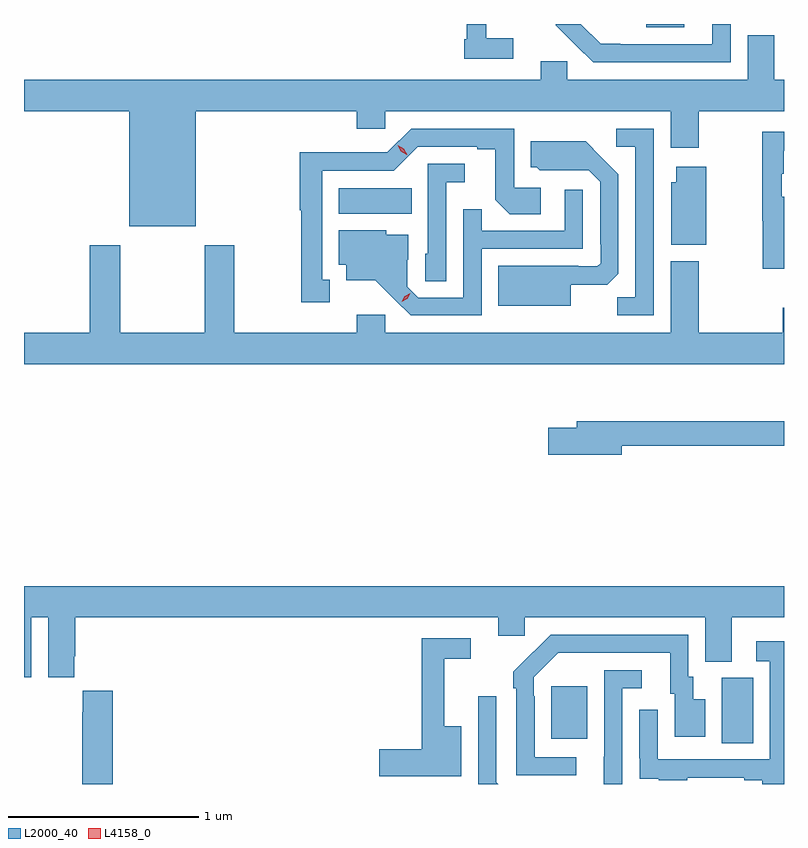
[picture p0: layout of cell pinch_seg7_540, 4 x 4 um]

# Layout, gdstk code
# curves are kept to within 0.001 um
import gdstk
lib = gdstk.Library(unit=1e-6, precision=1e-09)
def R(c, l, rs):  # rectangles x0, y0, x1, y1
    for r in rs: c.add(gdstk.rectangle(r[:2], r[2:], *l))
def P(c, l, *ps):  # polygons
    for p in ps: c.add(gdstk.Polygon(p, *l))
L2000_40 = (2000, 40)
L4158_0 = (4158, 0)

pinch_seg7_540 = lib.new_cell('pinch_seg7_540')
R(pinch_seg7_540, L2000_40, [(138.278,1050.568,138.442,1050.912), (137.381,1050.593,137.569,1050.868), (136.262,1053.356,136.646,1053.49), (137.88,1054.338,138.079,1054.354)])
P(pinch_seg7_540, L2000_40, [(138.324,1054.354),(138.227,1054.354),(138.227,1054.248),(137.64,1054.249),(137.534,1054.354),(137.403,1054.354),(137.403,1054.347),(137.6,1054.152),(138.324,1054.152)],
  [(137.179,1054.279),(137.039,1054.279),(137.039,1054.354),(136.936,1054.354),(136.936,1054.273),(136.921,1054.273),(136.921,1054.17),(137.179,1054.17)],
  [(135.508,1053.896),(136.355,1053.896),(136.355,1053.803),(136.506,1053.803),(136.506,1053.896),(138.008,1053.896),(138.008,1053.702),(138.156,1053.702),(138.156,1053.896),(138.605,1053.896),(138.605,1054.06),(138.553,1054.06),(138.553,1054.296),(138.413,1054.296),(138.413,1054.06),(137.463,1054.06),(137.463,1054.158),(137.324,1054.158),(137.324,1054.06),(134.605,1054.06),(134.605,1053.896),(135.158,1053.896),(135.158,1053.29),(135.508,1053.29)],
  [(137.919,1053.804),(137.721,1053.804),(137.721,1053.708),(137.823,1053.708),(137.823,1052.915),(137.728,1052.915),(137.728,1052.82),(137.919,1052.82)],
  [(136.213,1053.009),(136.174,1053.009),(136.174,1053.582),(136.551,1053.582),(136.677,1053.708),(136.991,1053.708),(136.991,1053.696),(137.085,1053.696),(137.085,1053.428),(137.161,1053.352),(137.326,1053.352),(137.326,1053.492),(137.184,1053.492),(137.184,1053.804),(136.644,1053.804),(136.518,1053.678),(136.296,1053.678),(136.296,1053.68),(136.056,1053.68),(136.056,1053.375),(136.063,1053.375),(136.063,1052.889),(136.213,1052.889)],
  [(138.605,1053.445),(138.593,1053.445),(138.593,1053.567),(138.604,1053.567),(138.604,1053.688),(138.605,1053.688),(138.605,1053.786),(138.49,1053.786),(138.49,1053.318),(138.494,1053.318),(138.494,1053.065),(138.605,1053.065)],
  [(137.482,1052.981),(137.674,1052.981),(137.733,1053.04),(137.733,1053.562),(137.561,1053.736),(137.273,1053.736),(137.273,1053.6),(137.304,1053.6),(137.32,1053.584),(137.577,1053.585),(137.637,1053.525),(137.637,1053.196),(137.64,1053.196),(137.64,1053.096),(137.622,1053.078),(137.522,1053.078),(137.522,1053.082),(137.102,1053.082),(137.102,1052.87),(137.482,1052.87)],
  [(136.827,1053.521),(136.924,1053.521),(136.924,1053.618),(136.731,1053.618),(136.731,1053.144),(136.716,1053.144),(136.716,1053.001),(136.827,1053.001)],
  [(138.196,1053.604),(138.038,1053.604),(138.038,1053.522),(138.011,1053.522),(138.011,1053.191),(138.196,1053.191)],
  [(137.013,1053.171),(137.547,1053.171),(137.547,1053.481),(137.451,1053.481),(137.451,1053.267),(137.015,1053.267),(137.015,1053.38),(136.917,1053.38),(136.917,1052.913),(136.68,1052.913),(136.623,1052.97),(136.623,1053.112),(136.627,1053.112),(136.627,1053.244),(136.512,1053.244),(136.512,1053.268),(136.262,1053.268),(136.262,1053.086),(136.301,1053.086),(136.301,1053.005),(136.453,1053.005),(136.64,1052.82),(137.013,1052.82)],
  [(138.605,1052.86),(138.598,1052.86),(138.598,1052.728),(138.156,1052.728),(138.156,1053.106),(138.008,1053.106),(138.008,1052.728),(136.506,1052.728),(136.506,1052.824),(136.355,1052.824),(136.355,1052.728),(135.711,1052.728),(135.711,1053.19),(135.556,1053.19),(135.556,1052.728),(135.111,1052.728),(135.111,1053.19),(134.951,1053.19),(134.951,1052.728),(134.605,1052.728),(134.605,1052.564),(138.605,1052.564)],
  [(137.752,1052.134),(138.605,1052.134),(138.605,1052.263),(137.513,1052.263),(137.513,1052.229),(137.364,1052.229),(137.364,1052.087),(137.752,1052.087)],
  [(134.644,1051.232),(134.732,1051.232),(134.732,1050.915),(134.869,1050.915),(134.869,1051.027),(134.876,1051.027),(134.876,1051.232),(137.102,1051.232),(137.102,1051.134),(137.241,1051.134),(137.241,1051.232),(138.191,1051.232),(138.191,1050.997),(138.331,1050.997),(138.331,1051.232),(138.605,1051.232),(138.605,1051.396),(134.605,1051.396),(134.605,1050.915),(134.644,1050.915)],
  [(137.512,1050.495),(137.292,1050.495),(137.292,1050.815),(137.289,1050.815),(137.289,1050.915),(137.418,1051.044),(138.005,1051.044),(138.005,1050.828),(138.029,1050.828),(138.029,1050.603),(138.19,1050.603),(138.19,1050.799),(138.127,1050.799),(138.127,1050.918),(138.102,1050.918),(138.102,1051.14),(137.378,1051.14),(137.181,1050.945),(137.181,1050.857),(137.196,1050.857),(137.196,1050.399),(137.512,1050.399)],
  [(136.906,1050.658),(136.817,1050.658),(136.817,1051.014),(136.957,1051.014),(136.957,1051.122),(136.699,1051.122),(136.699,1050.536),(136.476,1050.536),(136.476,1050.394),(136.906,1050.394)],
  [(138.605,1051.105),(138.459,1051.105),(138.459,1050.999),(138.531,1050.999),(138.531,1050.483),(137.94,1050.483),(137.94,1050.745),(137.844,1050.745),(137.844,1050.49),(137.845,1050.49),(137.845,1050.381),(137.947,1050.381),(137.947,1050.375),(138.095,1050.375),(138.095,1050.387),(138.395,1050.387),(138.395,1050.375),(138.491,1050.375),(138.491,1050.354),(138.605,1050.354)],
  [(137.754,1050.858),(137.857,1050.858),(137.857,1050.954),(137.658,1050.954),(137.658,1050.497),(137.657,1050.497),(137.657,1050.354),(137.754,1050.354)],
  [(135.071,1050.844),(134.915,1050.844),(134.915,1050.731),(134.911,1050.731),(134.911,1050.354),(135.071,1050.354)],
  [(137.091,1050.363),(137.091,1050.817),(136.995,1050.817),(136.995,1050.354),(137.1,1050.354)])
P(pinch_seg7_540, L4158_0, [(136.592,1052.891),(136.592,1052.892),(136.609,1052.921),(136.639,1052.937),(136.639,1052.937),(136.639,1052.937),(136.623,1052.907),(136.592,1052.891)],
  [(136.62,1053.665),(136.589,1053.684),(136.571,1053.717),(136.571,1053.717),(136.572,1053.717),(136.603,1053.698),(136.621,1053.665),(136.621,1053.665)])

lib.write_gds('pinch_seg7_540.gds')
